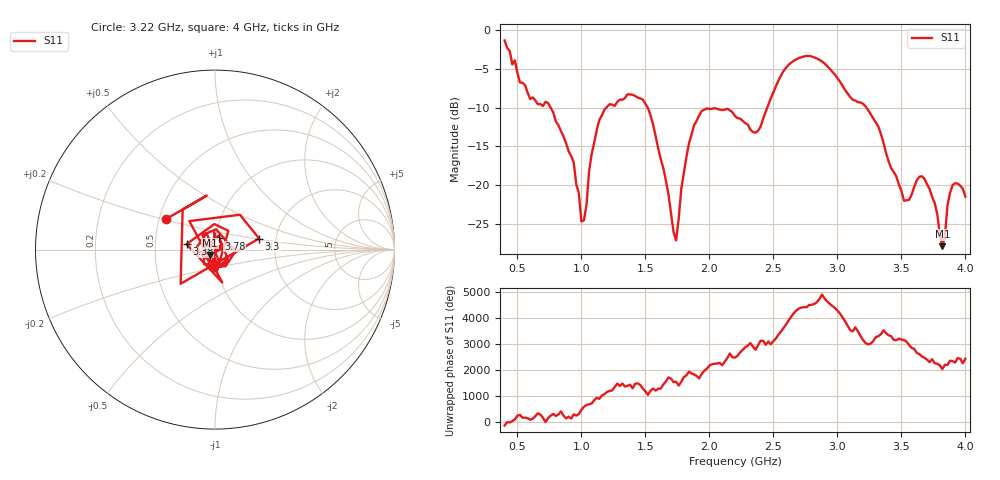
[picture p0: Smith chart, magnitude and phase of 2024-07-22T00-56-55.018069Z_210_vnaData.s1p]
!Created with skrf (http://scikit-rf.org).
# Hz S RI R 50.0
!freq ReS11 ImS11
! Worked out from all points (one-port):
!   181 points, 400 MHz to 4 GHz, reference 50 ohm
!   lowest |S11| = -27.9 dB at 3.82 GHz (marker M1), VSWR 1.08, Z = 47.2 - j2.77 ohm
!   |S11| at or under -10 dB: 759.5 MHz to 1.194 GHz (434.7 MHz wide, 44.5 % of centre); 1.518 GHz to 2.452 GHz (934.4 MHz wide, 47.1 % of centre); 3.227 GHz to end of sweep
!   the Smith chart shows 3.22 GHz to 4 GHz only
!   S11 on the Smith chart (normalised r, x): 3.22 GHz: 0.54, +0.21; 3.3 GHz: 1.63, +0.22; 3.38 GHz: 0.73, +0.05; 3.78 GHz: 1.03, +0.13; 4 GHz: 0.97, -0.16
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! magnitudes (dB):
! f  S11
! 400 MHz  -1.3
! 520 MHz  -6.8
! 860 MHz  -13.7
! 940 MHz  -17.1
! 1 GHz  -24.7
! 1.02 GHz  -24.5
! 1.08 GHz  -16.0
! 1.14 GHz  -11.6
! 1.3 GHz  -9.0
! 1.52 GHz  -10.1
! 1.72 GHz  -26.1
! 1.76 GHz  -24.4
! 1.84 GHz  -14.6
! 1.92 GHz  -11.0
! 2.2 GHz  -11.1
! 2.38 GHz  -13.0
! 2.66 GHz  -3.9
! 2.88 GHz  -4.0
! 3.1 GHz  -8.6
! 3.22 GHz  -9.8
! 3.3 GHz  -11.9
! 3.38 GHz  -15.8
! 3.56 GHz  -21.9
! 3.66 GHz  -18.9
! 3.78 GHz  -23.7
! 3.82 GHz  -27.9
! 3.9 GHz  -20.0
! 4 GHz  -21.5
